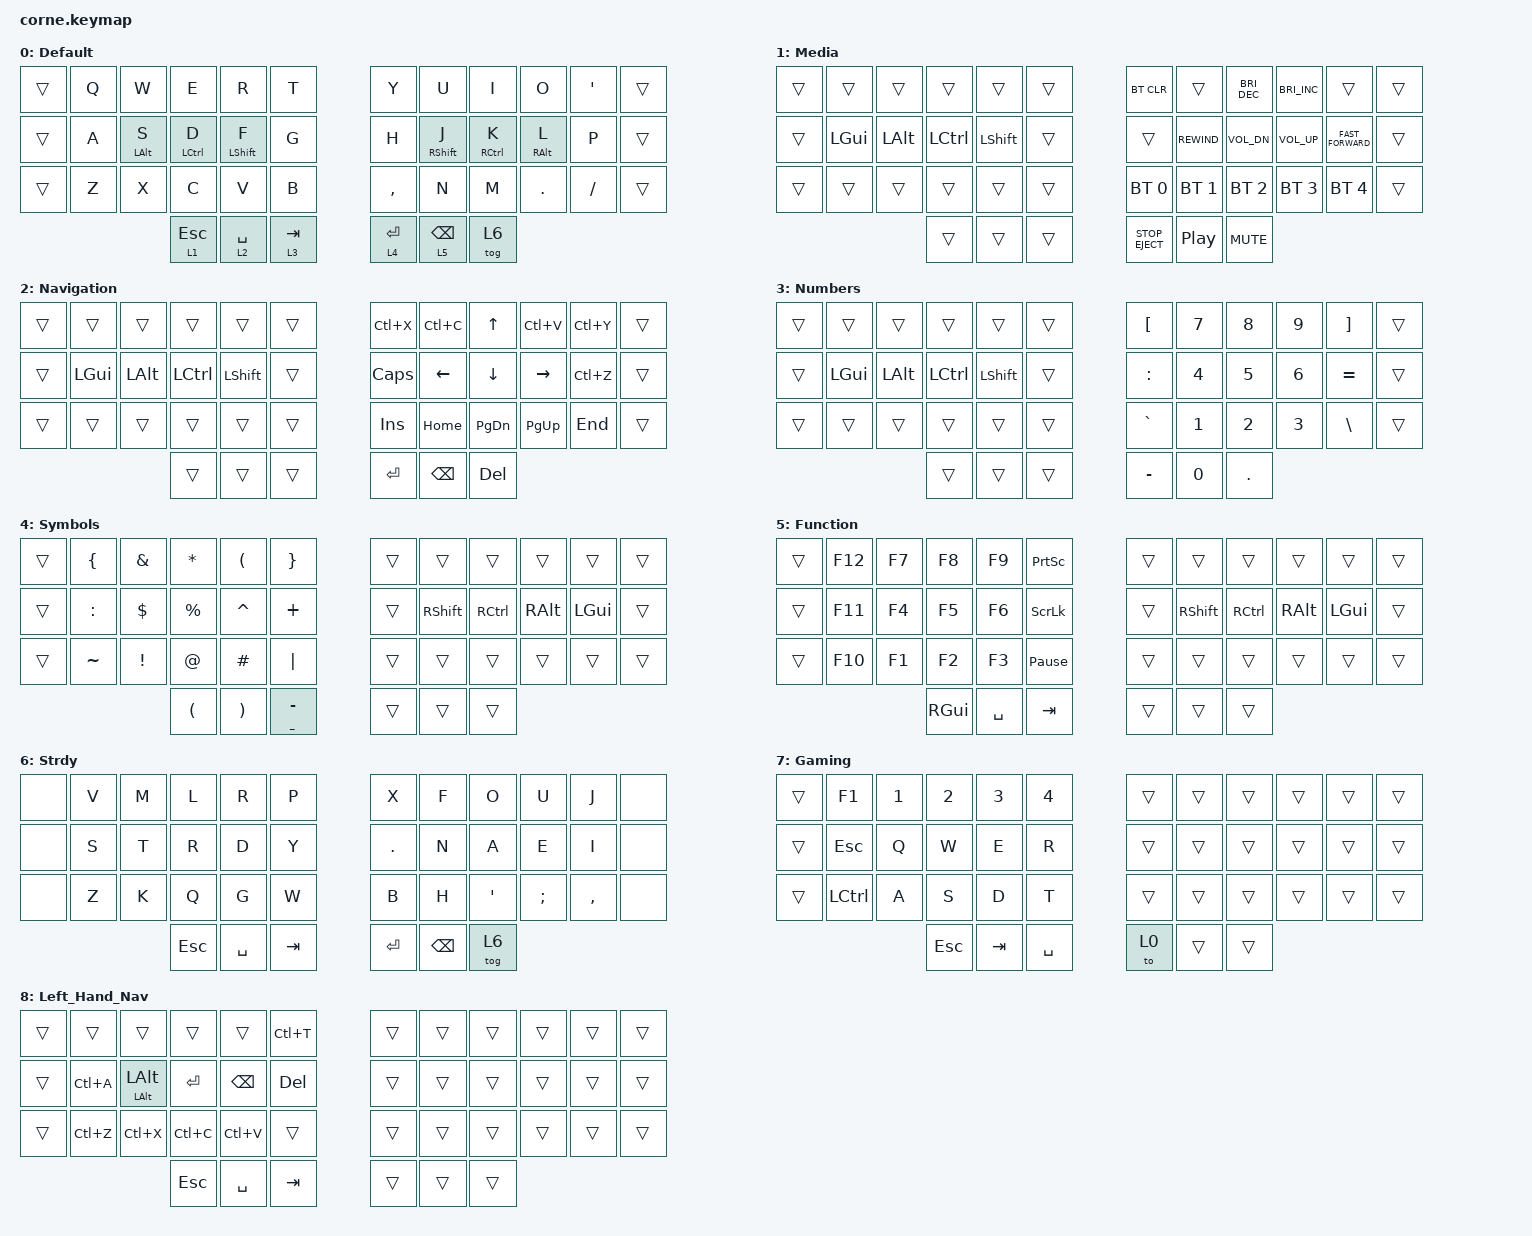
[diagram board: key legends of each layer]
/*
 * Copyright (c) 2020 The ZMK Contributors
 *
 * SPDX-License-Identifier: MIT
 */

#include <behaviors.dtsi>
#include <dt-bindings/zmk/bt.h>
#include <dt-bindings/zmk/keys.h>

/ {
    combos {
        compatible = "zmk,combos";

        Gaming_Layer {
            bindings = <&tog 7>;
            key-positions = <38 39>;
        };

        Left_Hand_Nav {
            bindings = <&tog 8>;
            key-positions = <1 5>;
        };
    };

    behaviors {
        hml_mt: hml_mt {
            compatible = "zmk,behavior-hold-tap";
            label = "HML_MT";
            bindings = <&kp>, <&kp>;

            #binding-cells = <2>;
            flavor = "tap-preferred";
            tapping-term-ms = <400>;
            require-prior-idle-ms = <400>;
            quick-tap-ms = <400>;
            hold-trigger-on-release;
            hold-trigger-key-positions = <6 30 18 7 8 9 10 11 19 20 21 22 23 31 32 33 34 35 40 41 39 38 37 36>;
        };

        hmr_mt: hmr_mt {
            compatible = "zmk,behavior-hold-tap";
            label = "HMR_MT";
            bindings = <&kp>, <&kp>;

            #binding-cells = <2>;
            flavor = "tap-preferred";
            tapping-term-ms = <400>;
            require-prior-idle-ms = <400>;
            quick-tap-ms = <400>;
            hold-trigger-on-release;
            hold-trigger-key-positions = <0 1 2 3 4 5 12 13 14 15 16 17 24 25 26 27 28 29 36 37 38 39 40 41>;
        };

        hmla_mt: hmla_mt {
            compatible = "zmk,behavior-hold-tap";
            label = "HMLA_MT";
            bindings = <&kp>, <&kp>;

            #binding-cells = <2>;
            flavor = "balanced";
            tapping-term-ms = <600>;
            require-prior-idle-ms = <350>;
            quick-tap-ms = <175>;
            hold-trigger-on-release;
            hold-trigger-key-positions = <6 7 8 9 10 11 18 19 20 21 22 23 30 31 32 33 34 35 39 40 41 38 36 37>;
        };

        mod_lt: mod_lt {
            compatible = "zmk,behavior-hold-tap";
            label = "MOD_LT";
            bindings = <&mo>, <&kp>;

            #binding-cells = <2>;
            flavor = "balanced";
            tapping-term-ms = <200>;
            require-prior-idle-ms = <150>;
            quick-tap-ms = <175>;
            hold-trigger-on-release;
        };
    };

    keymap {
        compatible = "zmk,keymap";

        Default {
            bindings = <
&trans  &kp Q  &kp W               &kp E                   &kp R                 &kp T            &kp Y            &kp U                  &kp I                    &kp O                &kp SQT    &trans
&trans  &kp A  &hml_mt LEFT_ALT S  &hml_mt LEFT_CONTROL D  &hml_mt LEFT_SHIFT F  &kp G            &kp H            &hmr_mt RIGHT_SHIFT J  &hmr_mt RIGHT_CONTROL K  &hmr_mt RIGHT_ALT L  &kp P      &trans
&trans  &kp Z  &kp X               &kp C                   &kp V                 &kp B            &kp COMMA        &kp N                  &kp M                    &kp DOT              &kp SLASH  &trans
                                   &mod_lt 1 ESCAPE        &mod_lt 2 SPACE       &mod_lt 3 TAB    &mod_lt 4 ENTER  &mod_lt 5 BACKSPACE    &tog 6
            >;
        };

        Media {
            bindings = <
&trans  &trans    &trans    &trans     &trans     &trans    &bt BT_CLR        &trans            &kp C_BRIGHTNESS_DEC  &kp C_BRIGHTNESS_INC  &trans              &trans
&trans  &kp LGUI  &kp LALT  &kp LCTRL  &kp LSHFT  &trans    &trans            &kp C_REWIND      &kp C_VOL_DN          &kp C_VOL_UP          &kp C_FAST_FORWARD  &trans
&trans  &trans    &trans    &trans     &trans     &trans    &bt BT_SEL 0      &bt BT_SEL 1      &bt BT_SEL 2          &bt BT_SEL 3          &bt BT_SEL 4        &trans
                            &trans     &trans     &trans    &kp C_STOP_EJECT  &kp C_PLAY_PAUSE  &kp C_MUTE
            >;
        };

        Navigation {
            bindings = <
&trans  &trans        &trans        &trans     &trans          &trans    &kp LC(X)   &kp LC(C)      &kp UP_ARROW    &kp LC(V)    &kp LC(Y)  &trans
&trans  &kp LEFT_GUI  &kp LEFT_ALT  &kp LCTRL  &kp LEFT_SHIFT  &trans    &kp CLCK    &kp LEFT       &kp DOWN_ARROW  &kp RIGHT    &kp LC(Z)  &trans
&trans  &trans        &trans        &trans     &trans          &trans    &kp INSERT  &kp HOME       &kp PAGE_DOWN   &kp PAGE_UP  &kp END    &trans
                                    &trans     &trans          &trans    &kp RET     &kp BACKSPACE  &kp DEL
            >;
        };

        Numbers {
            bindings = <
&trans  &trans    &trans    &trans     &trans     &trans    &kp LEFT_BRACKET  &kp NUMBER_7  &kp NUMBER_8  &kp NUMBER_9  &kp RIGHT_BRACKET  &trans
&trans  &kp LGUI  &kp LALT  &kp LCTRL  &kp LSHFT  &trans    &kp COLON         &kp NUMBER_4  &kp NUMBER_5  &kp NUMBER_6  &kp EQUAL          &trans
&trans  &trans    &trans    &trans     &trans     &trans    &kp GRAVE         &kp NUMBER_1  &kp NUMBER_2  &kp NUMBER_3  &kp BACKSLASH      &trans
                            &trans     &trans     &trans    &kp MINUS         &kp NUMBER_0  &kp PERIOD
            >;
        };

        Symbols {
            bindings = <
&trans  &kp LEFT_BRACE  &kp AMPERSAND    &kp ASTERISK          &kp LEFT_PARENTHESIS   &kp RIGHT_BRACE         &trans  &trans     &trans     &trans    &trans    &trans
&trans  &kp COLON       &kp DOLLAR       &kp PERCENT           &kp CARET              &kp PLUS                &trans  &kp RSHFT  &kp RCTRL  &kp RALT  &kp LGUI  &trans
&trans  &kp TILDE       &kp EXCLAMATION  &kp AT_SIGN           &kp HASH               &kp PIPE                &trans  &trans     &trans     &trans    &trans    &trans
                                         &kp LEFT_PARENTHESIS  &kp RIGHT_PARENTHESIS  &mt UNDERSCORE MINUS    &trans  &trans     &trans
            >;
        };

        Function {
            bindings = <
&trans  &kp F12  &kp F7  &kp F8    &kp F9     &kp PRINTSCREEN    &trans  &trans     &trans     &trans    &trans    &trans
&trans  &kp F11  &kp F4  &kp F5    &kp F6     &kp SCROLLLOCK     &trans  &kp RSHFT  &kp RCTRL  &kp RALT  &kp LGUI  &trans
&trans  &kp F10  &kp F1  &kp F2    &kp F3     &kp PAUSE_BREAK    &trans  &trans     &trans     &trans    &trans    &trans
                         &kp RGUI  &kp SPACE  &kp TAB            &trans  &trans     &trans
            >;
        };

        Strdy {
            // -----------------------------------------------------------------------------------------
            // |  TAB |  Q  |  W  |  E  |  R  |  T  |   |  Y  |  U   |  I  |  O  |  P  | BKSP |
            // | CTRL |  A  |  S  |  D  |  F  |  G  |   |  H  |  J   |  K  |  L  |  ;  |  '   |
            // | SHFT |  Z  |  X  |  C  |  V  |  B  |   |  N  |  M   |  ,  |  .  |  /  | ESC  |
            //                    | GUI | LWR | SPC |   | ENT | RSE  | ALT |

            bindings = <
&none  &kp V  &kp M  &kp L       &kp R      &kp P      &kp X       &kp F          &kp O    &kp U          &kp J      &none
&none  &kp S  &kp T  &kp R       &kp D      &kp Y      &kp PERIOD  &kp N          &kp A    &kp E          &kp I      &none
&none  &kp Z  &kp K  &kp Q       &kp G      &kp W      &kp B       &kp H          &kp SQT  &kp SEMICOLON  &kp COMMA  &none
                     &kp ESCAPE  &kp SPACE  &kp TAB    &kp ENTER   &kp BACKSPACE  &tog 6
            >;
        };

        Gaming {
            bindings = <
&trans  &kp F1            &kp NUMBER_1  &kp N2   &kp N3   &kp N4       &trans  &trans  &trans  &trans  &trans  &trans
&trans  &kp ESCAPE        &kp Q         &kp W    &kp E    &kp R        &trans  &trans  &trans  &trans  &trans  &trans
&trans  &kp LEFT_CONTROL  &kp A         &kp S    &kp D    &kp T        &trans  &trans  &trans  &trans  &trans  &trans
                                        &kp ESC  &kp TAB  &kp SPACE    &to 0   &trans  &trans
            >;
        };

        Left_Hand_Nav {
            bindings = <
&trans  &trans     &trans                     &trans      &trans         &kp LC(T)    &trans  &trans  &trans  &trans  &trans  &trans
&trans  &kp LC(A)  &hml_mt LEFT_ALT LEFT_ALT  &kp ENTER   &kp BACKSPACE  &kp DEL      &trans  &trans  &trans  &trans  &trans  &trans
&trans  &kp LC(Z)  &kp LC(X)                  &kp LC(C)   &kp LC(V)      &trans       &trans  &trans  &trans  &trans  &trans  &trans
                                              &kp ESCAPE  &kp SPACE      &kp TAB      &trans  &trans  &trans
            >;
        };
    };
};
